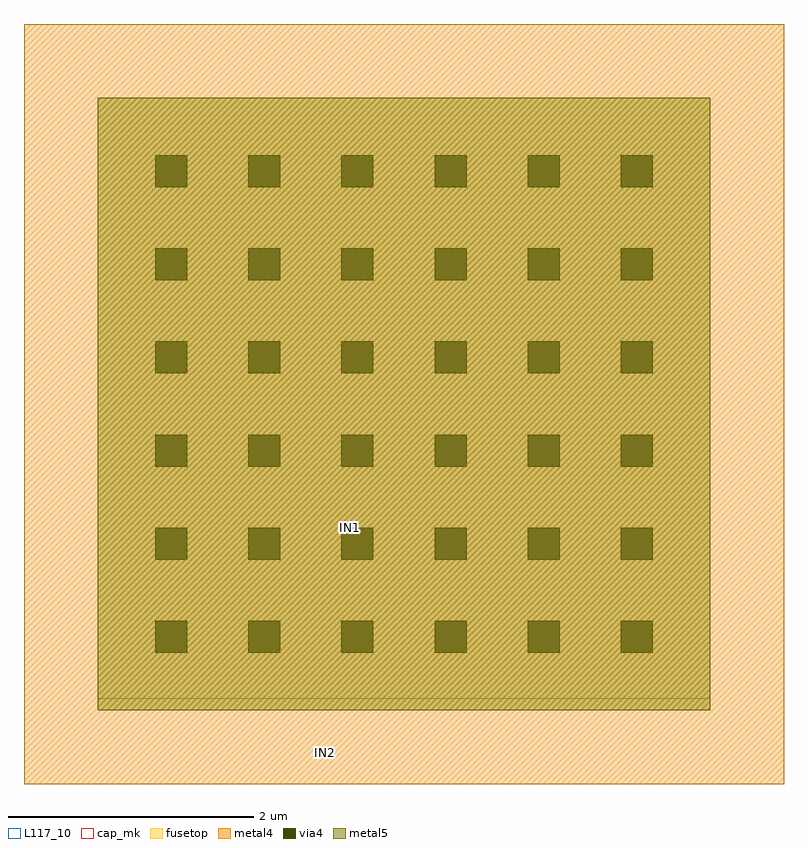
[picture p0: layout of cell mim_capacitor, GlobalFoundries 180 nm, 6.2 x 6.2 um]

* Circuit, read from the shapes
.subckt mim_capacitor IN1 IN2
XC1 IN1 IN2 cap_mim_2f0fF c_width=5u c_length=5u
.ends

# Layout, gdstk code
import gdstk
lib = gdstk.Library(unit=1e-6, precision=5e-09)
def R(c, l, rs):  # rectangles x0, y0, x1, y1
    for r in rs: c.add(gdstk.rectangle(r[:2], r[2:], *l))
def A(c, l, x, y, w, h, nx, ny, dx, dy):  # array of equal rectangles
    R(c, l, [(x+i*dx, y+j*dy, x+i*dx+w, y+j*dy+h) for i in range(nx) for j in range(ny)])
via4 = (41, 0)
metal4 = (46, 0)
fusetop = (75, 0)
metal5 = (81, 0)
cap_mk = (117, 5)
L117_10 = (117, 10)

cap_mim = lib.new_cell('cap_mim')
A(cap_mim, via4, 0.47, 0.47, 0.26, 0.26, 6, 6, 0.76, 0.76)
R(cap_mim, metal4, [(-0.6,-0.6,5.6,5.6)])
R(cap_mim, fusetop, [(0,0,5,5)])
R(cap_mim, metal5, [(0,0,5,5)])
R(cap_mim, cap_mk, [(-0.6,-0.6,5.6,5.6)])
R(cap_mim, L117_10, [(0,0,5,0.1)])
cap_mim.add(gdstk.Label('IN1', (2.5,2.5), layer=81, texttype=10))
cap_mim.add(gdstk.Label('IN2', (2.5,-0.3), layer=46, texttype=10))

mim_capacitor = lib.new_cell('mim_capacitor')
R(mim_capacitor, metal4, [(0.19,-2.895,0.21,-2.875)])
R(mim_capacitor, metal5, [(0.39,-1.06,0.41,-1.04)])
mim_capacitor.add(gdstk.Reference(cap_mim, (-1.66,-2.54)))
mim_capacitor.add(gdstk.Label('IN1', (0.4,-1.05), layer=81, texttype=10))
mim_capacitor.add(gdstk.Label('IN2', (0.2,-2.885), layer=46, texttype=10))

lib.write_gds('mim_capacitor.gds')
